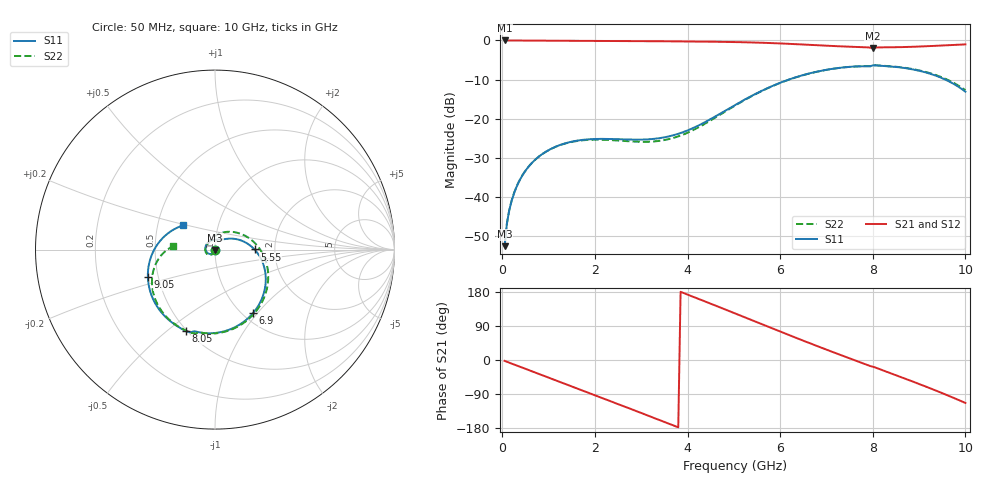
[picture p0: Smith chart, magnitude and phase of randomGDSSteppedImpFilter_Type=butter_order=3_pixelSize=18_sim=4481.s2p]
! freq	dB(S11)	phase(S11)	dB(S12)	phase(S12)
!  dB(S21)	phase(S21)	dB(S22)	phase(S22)
!S-par simulation data
#  GHz  S  DB  R 50
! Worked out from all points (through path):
!   200 points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, 50 MHz to 10 GHz, reference 50 ohm
!   highest |S21| = 0.00 dB at 50 MHz (marker M1); lowest = -1.9 dB at 8 GHz (marker M2)
!   group delay of S21, straight-line fit = 132 ps
!   lowest |S11| = -52.5 dB at 50 MHz (marker M3), VSWR 1.00, Z = 50 - j0.238 ohm
!   |S11| at or under -10 dB: start of sweep to 6.182 GHz; 9.569 GHz to end of sweep
!   |S22| runs from -52.4 to -6.3 dB; largest |S21 - S12| = 0
!   S11 on the Smith chart (normalised r, x): 50 MHz: 1.00, -0.00; 5.55 GHz: 1.56, +0.00; 6.9 GHz: 1.12, -0.95; 8.05 GHz: 0.49, -0.58; 9.05 GHz: 0.44, -0.16; 10 GHz: 0.68, +0.19
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0.05  -52.47 -89.6  -0.00 -2.4  -0.00 -2.4  -52.39 -88.5
0.1  -46.66 -92.2  -0.01 -4.7  -0.01 -4.7  -46.65 -90.9
0.2  -40.97 -98.6  -0.02 -9.4  -0.02 -9.4  -40.92 -96.5
0.5  -33.24 -116.7  -0.04 -23.3  -0.04 -23.3  -33.22 -111.1
1  -27.97 -143.9  -0.06 -46.5  -0.06 -46.5  -27.99 -132.3
1.75  -25.34 174.2  -0.10 -81.3  -0.10 -81.3  -25.45 -161.9
2.55  -25.22 126.0  -0.15 -118.6  -0.15 -118.6  -25.57 169.5
3.4  -24.91 77.1  -0.21 -158.7  -0.21 -158.7  -25.60 136.7
3.8  -23.81 60.1  -0.24 -177.7  -0.24 -177.7  -24.47 115.7
4.2  -21.90 46.9  -0.28 163.1  -0.28 163.1  -22.40 91.3
5.05  -16.30 19.6  -0.42 121.8  -0.42 121.8  -16.45 39.5
5.55  -13.14 0.2  -0.56 97.3  -0.56 97.3  -13.21 11.8
6.1  -10.35 -23.3  -0.81 70.3  -0.81 70.3  -10.38 -16.9
6.7  -8.21 -50.0  -1.16 41.4  -1.16 41.4  -8.23 -46.4
6.9  -7.70 -58.9  -1.28 32.0  -1.28 32.0  -7.71 -55.8
7.45  -6.79 -83.4  -1.58 6.6  -1.58 6.6  -6.78 -80.8
8  -6.38 -106.4  -1.89 -17.6  -1.89 -17.6  -6.38 -103.0
8.05  -6.34 -109.5  -1.81 -19.6  -1.81 -19.6  -6.32 -106.0
8.35  -6.59 -123.8  -1.75 -33.4  -1.75 -33.4  -6.55 -119.4
9.05  -7.87 -157.7  -1.53 -65.6  -1.53 -65.6  -7.76 -148.6
9.55  -9.89 174.3  -1.25 -90.0  -1.25 -90.0  -9.69 -168.8
10  -13.06 142.6  -1.01 -113.3  -1.01 -113.3  -12.68 175.3
